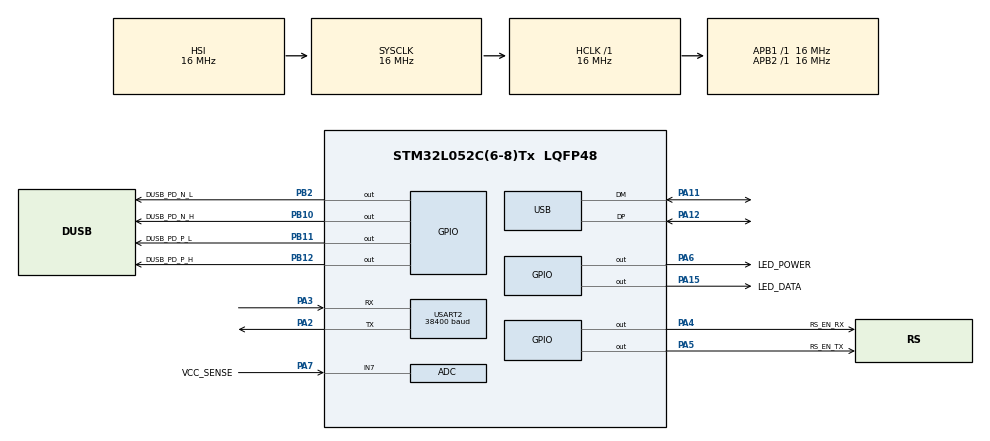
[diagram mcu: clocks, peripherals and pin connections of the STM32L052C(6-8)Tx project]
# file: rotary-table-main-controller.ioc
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Mcu.Family=STM32L0
Mcu.Name=STM32L052C(6-8)Tx
Mcu.Package=LQFP48
NVIC.USB_IRQn=true\:0\:0\:false\:false\:true\:false\:true
PA11.Mode=Device
PA11.Signal=USB_DM
PA12.Mode=Device
PA12.Signal=USB_DP
PA15.GPIO_Label=LED_DATA
PA15.GPIO_ModeDefaultOutputPP=GPIO_MODE_OUTPUT_OD
PA15.Signal=GPIO_Output
PA2.GPIO_Speed=GPIO_SPEED_FREQ_HIGH
PA2.Mode=Asynchronous
PA2.Signal=USART2_TX
PA3.GPIO_PuPd=GPIO_PULLUP
PA3.GPIO_Speed=GPIO_SPEED_FREQ_HIGH
PA3.Mode=Asynchronous
PA3.Signal=USART2_RX
PA4.GPIO_Label=RS_EN_RX
PA4.Signal=GPIO_Output
PA5.GPIO_Label=RS_EN_TX
PA5.Signal=GPIO_Output
PA6.GPIO_Label=LED_POWER
PA6.GPIO_ModeDefaultOutputPP=GPIO_MODE_OUTPUT_OD
PA6.Signal=GPIO_Output
PA7.GPIO_Label=VCC_SENSE
PA7.Mode=IN7
PA7.Signal=ADC_IN7
PB10.GPIO_Label=DUSB_PD_N_H
PB10.PinState=GPIO_PIN_SET
PB10.Signal=GPIO_Output
PB11.GPIO_Label=DUSB_PD_P_L
PB11.Signal=GPIO_Output
PB12.GPIO_Label=DUSB_PD_P_H
PB12.Signal=GPIO_Output
PB2.GPIO_Label=DUSB_PD_N_L
PB2.Signal=GPIO_Output
ProjectManager.HeapSize=0x200
ProjectManager.StackSize=0x400
ProjectManager.TargetToolchain=STM32CubeIDE
RCC.AHBFreq_Value=16000000
RCC.APB1Freq_Value=16000000
RCC.APB1TimFreq_Value=16000000
RCC.APB2Freq_Value=16000000
RCC.APB2TimFreq_Value=16000000
RCC.HCLKFreq_Value=16000000
RCC.HSE_VALUE=8000000
RCC.HSI16_VALUE=16000000
RCC.HSI48MClockSelection=RCC_USBCLKSOURCE_HSI48
RCC.HSI48_VALUE=48000000
RCC.HSI_VALUE=16000000
RCC.LSE_VALUE=32768
RCC.MSI_VALUE=2097000
RCC.PLLMUL=RCC_PLLMUL_6
RCC.SYSCLKFreq_VALUE=16000000
RCC.SYSCLKSource=RCC_SYSCLKSOURCE_HSI
RCC.VCOOutputFreq_Value=96000000
USART2.BaudRate=38400
USART2.VirtualMode-Asynchronous=VM_ASYNC
USB_DEVICE.APP_RX_DATA_SIZE=100
USB_DEVICE.APP_TX_DATA_SIZE=100
USB_DEVICE.CLASS_NAME_FS=CDC
USB_DEVICE.VirtualMode=Cdc
USB_DEVICE.VirtualModeFS=Cdc_FS
VP_ADC_Vref_Input.Mode=IN-Vrefint
VP_USB_DEVICE_VS_USB_DEVICE_CDC_FS.Mode=CDC_FS
board=custom

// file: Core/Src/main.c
/* USER CODE BEGIN Header */
/**
 ******************************************************************************
 * @file           : main.c
 * @brief          : Main program body
 ******************************************************************************
 * @attention
 *
 * <h2><center>&copy; Copyright (c) 2021 STMicroelectronics.
 * All rights reserved.</center></h2>
 *
 * This software component is licensed by ST under BSD 3-Clause license,
 * the "License"; You may not use this file except in compliance with the
 * License. You may obtain a copy of the License at:
 *                        opensource.org/licenses/BSD-3-Clause
 *
 ******************************************************************************
 */
/* USER CODE END Header */
#include "main.h"
#include "adc.h"
#include "usart.h"
#include "usb_device.h"
#include "gpio.h"

/* USER CODE BEGIN Includes */
#include "usbd_cdc_if.h"
#include "qc.h"
#include "communication.h"
/* USER CODE END Includes */

/* USER CODE BEGIN PV */
uint8_t USB_TxBufferCount = 0;
/* USER CODE END PV */

void SystemClock_Config(void);

/* USER CODE BEGIN 0 */
uint8_t UART_txBuffer[COM_REQUEST_FRAME_LENGTH];
uint8_t UART_rxBuffer[COM_RESPONSE_FRAME_LENGTH];
/* USER CODE END 0 */

int main(void)
{

  /* MCU Configuration--------------------------------------------------------*/

  /* Reset of all peripherals, Initializes the Flash interface and the Systick. */
  HAL_Init();

  /* Configure the system clock */
  SystemClock_Config();

  /* Initialize all configured peripherals */
  MX_GPIO_Init();
  MX_ADC_Init();
  MX_USART2_UART_Init();
  MX_USB_DEVICE_Init();
  /* USER CODE BEGIN 2 */
	QC_Init();
	HAL_ADCEx_Calibration_Start(&hadc, ADC_SINGLE_ENDED);
	HAL_ADC_ConfigChannel(&hadc, &adc_ch_vcc_sense);
	LED_dataOff();
  /* USER CODE END 2 */

  /* Infinite loop */
  /* USER CODE BEGIN WHILE */
	uint8_t is_charger_connected = 0;
	uint8_t is_voltage_ok = 0;
	float vcc_volt;
	while (1) {
		vcc_volt = ADC_measVSense();
		is_voltage_ok = vcc_volt > 10;
		is_charger_connected = (is_charger_connected << 1) | (vcc_volt > 4.5);
		if ((is_charger_connected & 0b11) == 0b01) {
			LED_powerOn();
			QC_Handshake();
			QC_Set12V();
		}
		if (is_voltage_ok) {
			LED_powerOn();
		} else {
			LED_powerOff();
		}

		if (USB_RxHasNewData && USB_RxBufferCount == COM_REQUEST_FRAME_LENGTH) {
			USB_RxHasNewData = 0;
			LED_dataOn();
			COM_RequestFrame req = COM_parseRequest(USB_RxBufferFS);
			if (req.address == COM_CONTROLLER_ADDRESS) {
				if (req.command == COM_COMMAND_GET_CONTROLLER_STATUS) {
					COM_ResponseFrame resp;
					resp.preamble = COM_PREAMBLE;
					resp.address = COM_CONTROLLER_ADDRESS;
					resp.resp_header = COM_RESP_CONTROLLER_STATUS_HEAD;
					resp.payload[0] = is_voltage_ok;
					resp.payload[1] = (uint8_t) (vcc_volt * 0b10000);
					resp.crc = COM_genResponse(USB_TxBufferFS, &resp);
					USB_TxBufferCount = COM_RESPONSE_FRAME_LENGTH;
					CDC_Transmit_FS(USB_TxBufferFS, USB_TxBufferCount);
					LED_dataOff();
				}
			} else {
				UART_RSRxDisable();
				UART_RSTxEnable();
				memcpy(UART_txBuffer, USB_RxBufferFS, USB_RxBufferCount);
				HAL_UART_Transmit_IT(&huart2, UART_txBuffer, USB_RxBufferCount);
			}
		}
    /* USER CODE END WHILE */

	}
}

void SystemClock_Config(void)
{
  RCC_OscInitTypeDef RCC_OscInitStruct = {0};
  RCC_ClkInitTypeDef RCC_ClkInitStruct = {0};
  RCC_PeriphCLKInitTypeDef PeriphClkInit = {0};

  /** Configure the main internal regulator output voltage
  */
  __HAL_PWR_VOLTAGESCALING_CONFIG(PWR_REGULATOR_VOLTAGE_SCALE1);
  /** Initializes the RCC Oscillators according to the specified parameters
  * in the RCC_OscInitTypeDef structure.
  */
  RCC_OscInitStruct.OscillatorType = RCC_OSCILLATORTYPE_HSI|RCC_OSCILLATORTYPE_HSI48;
  RCC_OscInitStruct.HSIState = RCC_HSI_ON;
  RCC_OscInitStruct.HSICalibrationValue = RCC_HSICALIBRATION_DEFAULT;
  RCC_OscInitStruct.HSI48State = RCC_HSI48_ON;
  RCC_OscInitStruct.PLL.PLLState = RCC_PLL_NONE;
  if (HAL_RCC_OscConfig(&RCC_OscInitStruct) != HAL_OK)
  {
    Error_Handler();
  }
  /** Initializes the CPU, AHB and APB buses clocks
  */
  RCC_ClkInitStruct.ClockType = RCC_CLOCKTYPE_HCLK|RCC_CLOCKTYPE_SYSCLK
                              |RCC_CLOCKTYPE_PCLK1|RCC_CLOCKTYPE_PCLK2;
  RCC_ClkInitStruct.SYSCLKSource = RCC_SYSCLKSOURCE_HSI;
  RCC_ClkInitStruct.AHBCLKDivider = RCC_SYSCLK_DIV1;
  RCC_ClkInitStruct.APB1CLKDivider = RCC_HCLK_DIV1;
  RCC_ClkInitStruct.APB2CLKDivider = RCC_HCLK_DIV1;

  if (HAL_RCC_ClockConfig(&RCC_ClkInitStruct, FLASH_LATENCY_0) != HAL_OK)
  {
    Error_Handler();
  }
  PeriphClkInit.PeriphClockSelection = RCC_PERIPHCLK_USART2|RCC_PERIPHCLK_USB;
  PeriphClkInit.Usart2ClockSelection = RCC_USART2CLKSOURCE_PCLK1;
  PeriphClkInit.UsbClockSelection = RCC_USBCLKSOURCE_HSI48;
  if (HAL_RCCEx_PeriphCLKConfig(&PeriphClkInit) != HAL_OK)
  {
    Error_Handler();
  }
}

/* USER CODE BEGIN 4 */
void USART2_IRQHandler() {
	HAL_UART_IRQHandler(&huart2);
}
void HAL_UART_TxCpltCallback(UART_HandleTypeDef *huart) {
	UART_RSRxEnable();
	UART_RSTxDisable();
	HAL_UART_Receive_IT(&huart2, UART_rxBuffer, COM_RESPONSE_FRAME_LENGTH);
	LED_dataOff();
}
void HAL_UART_RxCpltCallback(UART_HandleTypeDef *huart) {
	UART_RSRxDisable();
	UART_RSTxEnable();
	memcpy(USB_TxBufferFS, UART_rxBuffer, sizeof(UART_rxBuffer));
	USB_TxBufferCount = COM_RESPONSE_FRAME_LENGTH;
	CDC_Transmit_FS(USB_TxBufferFS, USB_TxBufferCount);
}
/* USER CODE END 4 */

void Error_Handler(void)
{
	__disable_irq();
	while (1) {
	}
}

/************************ (C) COPYRIGHT STMicroelectronics *****END OF FILE****/
